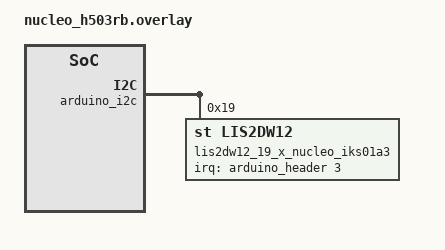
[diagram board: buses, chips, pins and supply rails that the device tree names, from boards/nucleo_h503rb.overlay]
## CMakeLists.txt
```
# Copyright (c) 2025 STMicroelectronics
#
# SPDX-License-Identifier: Apache-2.0
#
cmake_minimum_required(VERSION 3.20.0)

# This sample is specific to x_nucleo_iks01a3 shield. Enforce -DSHIELD option
set(SHIELD x_nucleo_iks01a3)

find_package(Zephyr REQUIRED HINTS $ENV{ZEPHYR_BASE})
project(x_nucleo_iks01a3)

FILE(GLOB app_sources src/*.c)
target_sources(app PRIVATE ${app_sources})
```

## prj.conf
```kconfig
CONFIG_LOG=y
CONFIG_STDOUT_CONSOLE=y
CONFIG_I2C=y
CONFIG_SENSOR=y
CONFIG_SENSOR_LOG_LEVEL_DBG=y
CONFIG_LIS2DW12_TRIGGER_OWN_THREAD=y
CONFIG_CBPRINTF_FP_SUPPORT=y

CONFIG_LIS2DW12_WAKEUP=y
```

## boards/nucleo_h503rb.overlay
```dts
/*
 * Copyright (c) 2025 STMicroelectronics
 *
 * SPDX-License-Identifier: Apache-2.0
 */


/*
 * Nucleo F401RE board + shield iks4a1
 *
 * This devicetree overlay file will be automatically picked by the Zephyr
 * build system when building the sample for the nucleo_f401re board.
 */

/ {
	aliases {
	};
};

&arduino_i2c {

	lis2dw12_19_x_nucleo_iks01a3: lis2dw12@19 {
		compatible = "st,lis2dw12";
		reg = <0x19>;
		irq-gpios =  <&arduino_header 3 GPIO_ACTIVE_HIGH>; /* A3 */

		hp-filter-path;
		wakeup-duration = <0>;
	};

};
```

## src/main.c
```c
/*
 * Copyright (c) 2025 STMicroelectronics
 *
 * SPDX-License-Identifier: Apache-2.0
 */

#include <zephyr/kernel.h>
#include <zephyr/device.h>
#include <zephyr/drivers/sensor.h>
#include <stdio.h>
#include <zephyr/sys/util.h>

#ifdef CONFIG_LIS2DW12_TRIGGER
static void lis2dw12_wakeup_handler(const struct device *dev,
				    const struct sensor_trigger *trig)
{
	sensor_sample_fetch_chan(dev, SENSOR_CHAN_ACCEL_XYZ);
	printk("wake-up detected\n");
}
#endif

static void lis2dw12_config(const struct device *lis2dw12)
{
	struct sensor_value odr_attr, fs_attr;
	struct sensor_value wakeup_threshold;

	/* set LIS2DW12 accel/gyro sampling frequency to 100 Hz */
	odr_attr.val1 = 100;
	odr_attr.val2 = 0;

	if (sensor_attr_set(lis2dw12, SENSOR_CHAN_ACCEL_XYZ,
			    SENSOR_ATTR_SAMPLING_FREQUENCY, &odr_attr) < 0) {
		printk("Cannot set sampling frequency for LIS2DW12 \n");
		return;
	}

	sensor_g_to_ms2(2, &fs_attr);

	if (sensor_attr_set(lis2dw12, SENSOR_CHAN_ACCEL_XYZ,
			    SENSOR_ATTR_FULL_SCALE, &fs_attr) < 0) {
		printk("Cannot set full scale for LIS2DW12 \n");
		return;
	}

	wakeup_threshold.val1 = 2;
	wakeup_threshold.val2 = 0;

	if (sensor_attr_set(lis2dw12, SENSOR_CHAN_ACCEL_XYZ,
			    SENSOR_ATTR_UPPER_THRESH, &wakeup_threshold) < 0) {
		printk("Cannot set threshold\n");
		return;
	}

#ifdef CONFIG_LIS2DW12_TRIGGER
	struct sensor_trigger trig;

	trig.type = SENSOR_TRIG_MOTION;
	trig.chan = SENSOR_CHAN_ACCEL_XYZ;
	sensor_trigger_set(lis2dw12, &trig, lis2dw12_wakeup_handler);
#endif
}

int main(void)
{
	const struct device *const lis2dw12 = DEVICE_DT_GET_ONE(st_lis2dw12);

	if (!device_is_ready(lis2dw12)) {
		printk("%s: device not ready.\n", lis2dw12->name);
		return 0;
	}

	lis2dw12_config(lis2dw12);

	while (1) {
		k_sleep(K_SECONDS(5));
	}
}
```
